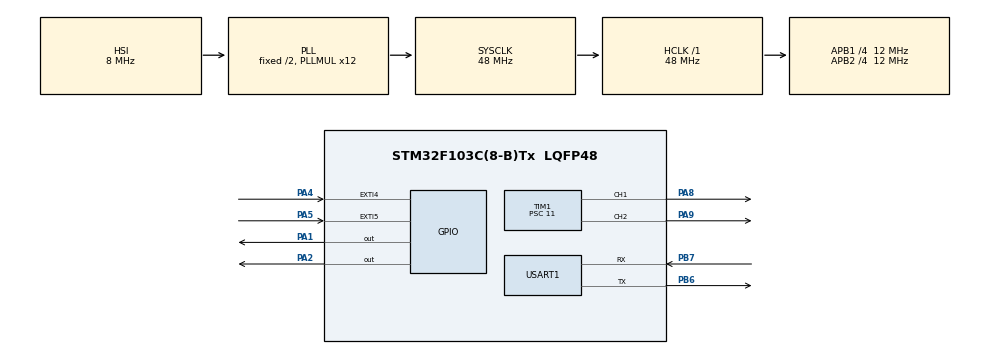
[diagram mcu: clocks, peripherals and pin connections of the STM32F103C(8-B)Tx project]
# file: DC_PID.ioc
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Mcu.Family=STM32F1
Mcu.Name=STM32F103C(8-B)Tx
Mcu.Package=LQFP48
NVIC.EXTI4_IRQn=true\:0\:0\:false\:false\:true\:true\:true\:true
NVIC.EXTI9_5_IRQn=true\:0\:0\:false\:false\:true\:true\:true\:true
NVIC.PriorityGroup=NVIC_PRIORITYGROUP_4
NVIC.TIM2_IRQn=true\:0\:0\:false\:false\:true\:true\:true\:true
NVIC.USART1_IRQn=true\:0\:0\:false\:false\:true\:true\:true\:true
PA1.Signal=GPIO_Output
PA13.Mode=Serial_Wire
PA13.Signal=SYS_JTMS-SWDIO
PA14.Mode=Serial_Wire
PA14.Signal=SYS_JTCK-SWCLK
PA2.Signal=GPIO_Output
PA4.GPIO_ModeDefaultEXTI=GPIO_MODE_IT_RISING_FALLING
PA4.GPIO_PuPd=GPIO_PULLUP
PA4.Signal=GPXTI4
PA5.GPIO_ModeDefaultEXTI=GPIO_MODE_IT_RISING_FALLING
PA5.GPIO_PuPd=GPIO_PULLUP
PA5.Signal=GPXTI5
PA8.Signal=S_TIM1_CH1
PA9.Signal=S_TIM1_CH2
PB6.Mode=Asynchronous
PB6.Signal=USART1_TX
PB7.Mode=Asynchronous
PB7.Signal=USART1_RX
PD0-OSC_IN.Mode=HSE-External-Oscillator
PD0-OSC_IN.Signal=RCC_OSC_IN
PD1-OSC_OUT.Mode=HSE-External-Oscillator
PD1-OSC_OUT.Signal=RCC_OSC_OUT
ProjectManager.HeapSize=0x200
ProjectManager.StackSize=0x400
ProjectManager.TargetToolchain=MDK-ARM V5.32
RCC.AHBFreq_Value=48000000
RCC.APB1CLKDivider=RCC_HCLK_DIV4
RCC.APB1Freq_Value=12000000
RCC.APB1TimFreq_Value=24000000
RCC.APB2CLKDivider=RCC_HCLK_DIV4
RCC.APB2Freq_Value=12000000
RCC.APB2TimFreq_Value=24000000
RCC.HCLKFreq_Value=48000000
RCC.PLLMUL=RCC_PLL_MUL12
RCC.SYSCLKFreq_VALUE=48000000
RCC.SYSCLKSource=RCC_SYSCLKSOURCE_PLLCLK
RCC.USBFreq_Value=48000000
SH.S_TIM1_CH1.0=TIM1_CH1,PWM Generation1 CH1
SH.S_TIM1_CH2.0=TIM1_CH2,PWM Generation2 CH2
TIM1.Channel-PWM\ Generation1\ CH1=TIM_CHANNEL_1
TIM1.Channel-PWM\ Generation2\ CH2=TIM_CHANNEL_2
TIM1.Period=100
TIM1.Prescaler=11
TIM2.Period=0
TIM2.Prescaler=23999
USART1.VirtualMode=VM_ASYNC
VP_TIM1_VS_ClockSourceINT.Mode=Internal
VP_TIM2_VS_ClockSourceINT.Mode=Internal
board=custom

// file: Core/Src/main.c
/* USER CODE BEGIN Header */
/**
  ******************************************************************************
  * @file           : main.c
  * @brief          : Main program body
  ******************************************************************************
  * @attention
  *
  * Copyright (c) 2025 STMicroelectronics.
  * All rights reserved.
  *
  * This software is licensed under terms that can be found in the LICENSE file
  * in the root directory of this software component.
  * If no LICENSE file comes with this software, it is provided AS-IS.
  *
  ******************************************************************************
  */
/* USER CODE END Header */
#include "main.h"

/* USER CODE BEGIN Includes */
#include "string.h"
#include "stdio.h"
#include "stdlib.h"
#include "stdbool.h"
/* USER CODE END Includes */

/* USER CODE BEGIN PM */
#define pi 3.1415
#define p2r pi/400
#define sampletime 0.005
#define alpha 0.95
/* USER CODE END PM */

TIM_HandleTypeDef htim1;
TIM_HandleTypeDef htim2;

UART_HandleTypeDef huart1;

/* USER CODE BEGIN PV */
int32_t PosCnt,Cnttmp,speed;
int16_t CountValue=0,RealVel,HILIM =100 ,LOLIM =-100;
uint16_t AngPos1, AngPos0,CntVel;
uint8_t PreviousState,Speedmode,tick=0;
int16_t pwm ;
bool run=true, dir;
float CurPos=0,DesiredPos,CurVel, DesiredSpeed;
char Rx_indx, Rx_Buffer[20],Rx_data[2];
char dataVelocity[100], dataPosition[100];
float Kp=0.075,Kd=0,Ki=148, Kb=100 ;
/* USER CODE END PV */

void SystemClock_Config(void);
static void MX_GPIO_Init(void);
static void MX_TIM1_Init(void);
static void MX_TIM2_Init(void);
static void MX_USART1_UART_Init(void);

/* USER CODE BEGIN 0 */
#ifdef __GNUC__
	#define PUTCHAR_PROTOTYPE int __io_putchar(int ch)
#else
	#define PUTCHAR_PROTOTYPE int fputc(int ch, FILE *f)
	#define GETCHAR_PROTOTYPE int fgetc(FILE *f)
#endif
	PUTCHAR_PROTOTYPE
	{
		HAL_UART_Transmit(&huart1, (uint8_t*)&ch,1,100);
		return ch;
	}

// Ham ngat Uart
void HAL_UART_RxCpltCallback(UART_HandleTypeDef *huart)
	{
		uint8_t i;
		if(huart->Instance == USART1) //uart1
		{
				if(Rx_indx==0) {for (i=0;i<20;i++) Rx_Buffer[i] = 0;}

		switch(Rx_data[0]) {
            /* dung dong co */
            case 'e':
                run =false;
                break;

            /* dong co chay */
            case 'r':
                run = true;
                break;
            case 'b':
//								reset();
								break;
            case 's':
                DesiredPos = atoi(Rx_Buffer);
                memset(Rx_Buffer, 0, sizeof(Rx_Buffer));
                Rx_indx = 0;
                break;
            case 'v':
                DesiredSpeed = atoi(Rx_Buffer);
                memset(Rx_Buffer, 0, sizeof(Rx_Buffer));
                Rx_indx = 0;
                break;
            case '0':
            case '1':
            case '2':
            case '3':
            case '4':
            case '5':
            case '6':
            case '7':
            case '8':
            case '9':
            case '.':
            case '-':
                Rx_Buffer[Rx_indx++] |= Rx_data[0];
                break;
            default:
                break;
        }
				HAL_UART_Receive_IT(&huart1,(uint8_t*)Rx_data,1);
		}
	}

void EXTI9_5_IRQHandler(void)	// doc encoder
{
  /* USER CODE BEGIN EXTI9_5_IRQn 0 */
unsigned char State0;
	State0 = (State0<<1) | HAL_GPIO_ReadPin(GPIOA, GPIO_PIN_4);
	State0 = (State0<<1) | HAL_GPIO_ReadPin(GPIOA, GPIO_PIN_5);
	State0 = State0&0x03;
	switch (State0) {
		case 0:
			if(PreviousState==1) CountValue++;
			else CountValue--;
		break;
		case 1:
			if(PreviousState==3) CountValue++;
			else CountValue--;
		break;
		case 2:
			if(PreviousState==0) CountValue++;
			else CountValue--;
		break;
		case 3:
			if(PreviousState==2) CountValue++;
			else CountValue--;
		break;
		}
	PreviousState = State0;
	CntVel++;
	if (CountValue>=1600) {
		CountValue = 0;
		PosCnt++;
	}
	else if	(CountValue<=-1600) {
		CountValue = 0;
		PosCnt--;
	}
  /* USER CODE END EXTI9_5_IRQn 0 */
  HAL_GPIO_EXTI_IRQHandler(GPIO_PIN_5);
  /* USER CODE BEGIN EXTI9_5_IRQn 1 */
}

/**
* @brief This function handles EXTI line3 interrupt.
*/
void EXTI4_IRQHandler(void)	// doc encoder
{
  /* USER CODE BEGIN EXTI4_IRQn 0 */
	// CHANNEL A
unsigned char State1;
	State1 = (State1<<1) | HAL_GPIO_ReadPin(GPIOA, GPIO_PIN_4);
	State1 = (State1<<1) | HAL_GPIO_ReadPin(GPIOA, GPIO_PIN_5);
	State1 = State1&0x03;
	switch (State1) {
		case 0:
			if(PreviousState==1) CountValue++;
			else CountValue--;
		break;
		case 1:
			if(PreviousState==3) CountValue++;
			else CountValue--;
		break;
		case 2:
			if(PreviousState==0) CountValue++;
			else CountValue--;
		break;
		case 3:
			if(PreviousState==2) CountValue++;
			else CountValue--;
		break;
		}
	PreviousState = State1;
	CntVel++;
	if (CountValue>=1600) {
		CountValue = 0;
		PosCnt++;
	}
	else if	(CountValue<=-1600) {
		CountValue = 0;
		PosCnt--;
	}
  /* USER CODE END EXTI4_IRQn 0 */
  HAL_GPIO_EXTI_IRQHandler(GPIO_PIN_4);
  /* USER CODE BEGIN EXTI4_IRQn 1 */

  /* USER CODE END EXTI4_IRQn 1 */
}

void tx_print(char *str)
{
		HAL_UART_Transmit(&huart1, (uint8_t*) str, strlen(str), 100);
}

int PIDVel(float Desiredvalue, float Currentvalue){

	static float errp = 0, e_reset = 0 ;
	static float uip = 0, ud_f_p = 0 ;
	float err,up,ud,ui, ud_f ;
	int uout , uout_anti_windup ;

	err = Desiredvalue - Currentvalue ;

	up = Kp*err ;
	ud = Kd*(err-errp)/sampletime ;
	ud_f = (1-alpha) * ud_f_p + alpha * ud;
	ui = uip + Ki*err*sampletime + Kb * sampletime * e_reset ;

	errp = err ;
	uip = ui ;
	ud_f_p = ud_f;
	uout =(int)(up+ud_f+ui);

	if(uout>HILIM) uout_anti_windup = 100 ;
	else if (uout < LOLIM)(uout_anti_windup = 0);
	else uout_anti_windup = uout;
	e_reset = uout_anti_windup - uout;
	return uout_anti_windup ;

}

void HAL_TIM_PeriodElapsedCallback(TIM_HandleTypeDef *htim) {	// ngat timer 2 tinh van toc
	if(htim->Instance==TIM2)	// ngat do timer 2	5ms
	{
		CurPos = (PosCnt*2*pi+CountValue*p2r)*5.4/(pi);	// Position calculation rad
		Cnttmp = CntVel;
		CntVel = 0;
		CurVel = 9.549279*Cnttmp*pi/5;								//rad/s

		// STUDENTS HAVE TO CONVERT CURPOS (RAD) TO TRANSLATION (MM)
 		pwm = PIDVel(DesiredSpeed, CurVel);
//		pwm= DesiredSpeed;
		if (pwm >0)
			(dir = 1) ;
		else {
		pwm *=-1;
		dir = 0 ; }

		if (dir==1){
//				HAL_GPIO_WritePin(GPIOA, GPIO_PIN_1, GPIO_PIN_SET);
//				HAL_GPIO_WritePin(GPIOA, GPIO_PIN_2, GPIO_PIN_RESET);
				__HAL_TIM_SetCompare(&htim1, TIM_CHANNEL_1, 0);
				__HAL_TIM_SetCompare(&htim1, TIM_CHANNEL_2, pwm);
		}
		else {
//				HAL_GPIO_WritePin(GPIOA, GPIO_PIN_1, GPIO_PIN_RESET);
//				HAL_GPIO_WritePin(GPIOA, GPIO_PIN_2, GPIO_PIN_SET);
				__HAL_TIM_SetCompare(&htim1, TIM_CHANNEL_1, pwm);
				__HAL_TIM_SetCompare(&htim1, TIM_CHANNEL_2, 0);
		}
	}

}

/* USER CODE END 0 */

int main(void)
{

  /* MCU Configuration--------------------------------------------------------*/

  /* Reset of all peripherals, Initializes the Flash interface and the Systick. */
  HAL_Init();

  /* Configure the system clock */
  SystemClock_Config();

  /* Initialize all configured peripherals */
  MX_GPIO_Init();
  MX_TIM1_Init();
  MX_TIM2_Init();
  MX_USART1_UART_Init();
  /* USER CODE BEGIN 2 */
	HAL_TIM_PWM_Start(&htim1, TIM_CHANNEL_1);
	HAL_TIM_PWM_Start(&htim1, TIM_CHANNEL_2);
	HAL_TIM_Base_Start_IT(&htim2);
	HAL_UART_Receive_IT(&huart1,(uint8_t*)Rx_data,1);
	HAL_GPIO_WritePin(GPIOA, GPIO_PIN_1, GPIO_PIN_SET);
	HAL_GPIO_WritePin(GPIOA, GPIO_PIN_2, GPIO_PIN_SET);
  /* USER CODE END 2 */

  /* Infinite loop */
  while (1)
  {

    /* USER CODE BEGIN 3 */
		sprintf(dataVelocity,"V%f\r\n",CurVel);
		tx_print(dataVelocity);
		sprintf(dataPosition,"P%f\r\n",CurPos);
		tx_print(dataPosition);
		HAL_Delay(50);
  }
  /* USER CODE END 3 */
}

void SystemClock_Config(void)
{
  RCC_OscInitTypeDef RCC_OscInitStruct = {0};
  RCC_ClkInitTypeDef RCC_ClkInitStruct = {0};

  /** Initializes the RCC Oscillators according to the specified parameters
  * in the RCC_OscInitTypeDef structure.
  */
  RCC_OscInitStruct.OscillatorType = RCC_OSCILLATORTYPE_HSI;
  RCC_OscInitStruct.HSIState = RCC_HSI_ON;
  RCC_OscInitStruct.HSICalibrationValue = RCC_HSICALIBRATION_DEFAULT;
  RCC_OscInitStruct.PLL.PLLState = RCC_PLL_ON;
  RCC_OscInitStruct.PLL.PLLSource = RCC_PLLSOURCE_HSI_DIV2;
  RCC_OscInitStruct.PLL.PLLMUL = RCC_PLL_MUL12;
  if (HAL_RCC_OscConfig(&RCC_OscInitStruct) != HAL_OK)
  {
    Error_Handler();
  }

  /** Initializes the CPU, AHB and APB buses clocks
  */
  RCC_ClkInitStruct.ClockType = RCC_CLOCKTYPE_HCLK|RCC_CLOCKTYPE_SYSCLK
                              |RCC_CLOCKTYPE_PCLK1|RCC_CLOCKTYPE_PCLK2;
  RCC_ClkInitStruct.SYSCLKSource = RCC_SYSCLKSOURCE_PLLCLK;
  RCC_ClkInitStruct.AHBCLKDivider = RCC_SYSCLK_DIV1;
  RCC_ClkInitStruct.APB1CLKDivider = RCC_HCLK_DIV4;
  RCC_ClkInitStruct.APB2CLKDivider = RCC_HCLK_DIV4;

  if (HAL_RCC_ClockConfig(&RCC_ClkInitStruct, FLASH_LATENCY_1) != HAL_OK)
  {
    Error_Handler();
  }
}

static void MX_TIM1_Init(void)
{

  TIM_ClockConfigTypeDef sClockSourceConfig = {0};
  TIM_MasterConfigTypeDef sMasterConfig = {0};
  TIM_OC_InitTypeDef sConfigOC = {0};
  TIM_BreakDeadTimeConfigTypeDef sBreakDeadTimeConfig = {0};

  htim1.Instance = TIM1;
  htim1.Init.Prescaler = 11;
  htim1.Init.CounterMode = TIM_COUNTERMODE_UP;
  htim1.Init.Period = 100;
  htim1.Init.ClockDivision = TIM_CLOCKDIVISION_DIV1;
  htim1.Init.RepetitionCounter = 0;
  htim1.Init.AutoReloadPreload = TIM_AUTORELOAD_PRELOAD_DISABLE;
  if (HAL_TIM_Base_Init(&htim1) != HAL_OK)
  {
    Error_Handler();
  }
  sClockSourceConfig.ClockSource = TIM_CLOCKSOURCE_INTERNAL;
  if (HAL_TIM_ConfigClockSource(&htim1, &sClockSourceConfig) != HAL_OK)
  {
    Error_Handler();
  }
  if (HAL_TIM_PWM_Init(&htim1) != HAL_OK)
  {
    Error_Handler();
  }
  sMasterConfig.MasterOutputTrigger = TIM_TRGO_RESET;
  sMasterConfig.MasterSlaveMode = TIM_MASTERSLAVEMODE_DISABLE;
  if (HAL_TIMEx_MasterConfigSynchronization(&htim1, &sMasterConfig) != HAL_OK)
  {
    Error_Handler();
  }
  sConfigOC.OCMode = TIM_OCMODE_PWM1;
  sConfigOC.Pulse = 0;
  sConfigOC.OCPolarity = TIM_OCPOLARITY_HIGH;
  sConfigOC.OCNPolarity = TIM_OCNPOLARITY_HIGH;
  sConfigOC.OCFastMode = TIM_OCFAST_DISABLE;
  sConfigOC.OCIdleState = TIM_OCIDLESTATE_RESET;
  sConfigOC.OCNIdleState = TIM_OCNIDLESTATE_RESET;
  if (HAL_TIM_PWM_ConfigChannel(&htim1, &sConfigOC, TIM_CHANNEL_1) != HAL_OK)
  {
    Error_Handler();
  }
  if (HAL_TIM_PWM_ConfigChannel(&htim1, &sConfigOC, TIM_CHANNEL_2) != HAL_OK)
  {
    Error_Handler();
  }
  sBreakDeadTimeConfig.OffStateRunMode = TIM_OSSR_DISABLE;
  sBreakDeadTimeConfig.OffStateIDLEMode = TIM_OSSI_DISABLE;
  sBreakDeadTimeConfig.LockLevel = TIM_LOCKLEVEL_OFF;
  sBreakDeadTimeConfig.DeadTime = 0;
  sBreakDeadTimeConfig.BreakState = TIM_BREAK_DISABLE;
  sBreakDeadTimeConfig.BreakPolarity = TIM_BREAKPOLARITY_HIGH;
  sBreakDeadTimeConfig.AutomaticOutput = TIM_AUTOMATICOUTPUT_DISABLE;
  if (HAL_TIMEx_ConfigBreakDeadTime(&htim1, &sBreakDeadTimeConfig) != HAL_OK)
  {
    Error_Handler();
  }
  HAL_TIM_MspPostInit(&htim1);

}

static void MX_TIM2_Init(void)
{

  TIM_ClockConfigTypeDef sClockSourceConfig = {0};
  TIM_MasterConfigTypeDef sMasterConfig = {0};

  htim2.Instance = TIM2;
  htim2.Init.Prescaler = 23999;
  htim2.Init.CounterMode = TIM_COUNTERMODE_UP;
  htim2.Init.Period = 4;
  htim2.Init.ClockDivision = TIM_CLOCKDIVISION_DIV1;
  htim2.Init.AutoReloadPreload = TIM_AUTORELOAD_PRELOAD_DISABLE;
  if (HAL_TIM_Base_Init(&htim2) != HAL_OK)
  {
    Error_Handler();
  }
  sClockSourceConfig.ClockSource = TIM_CLOCKSOURCE_INTERNAL;
  if (HAL_TIM_ConfigClockSource(&htim2, &sClockSourceConfig) != HAL_OK)
  {
    Error_Handler();
  }
  sMasterConfig.MasterOutputTrigger = TIM_TRGO_RESET;
  sMasterConfig.MasterSlaveMode = TIM_MASTERSLAVEMODE_DISABLE;
  if (HAL_TIMEx_MasterConfigSynchronization(&htim2, &sMasterConfig) != HAL_OK)
  {
    Error_Handler();
  }

}

static void MX_USART1_UART_Init(void)
{

  huart1.Instance = USART1;
  huart1.Init.BaudRate = 115200;
  huart1.Init.WordLength = UART_WORDLENGTH_8B;
  huart1.Init.StopBits = UART_STOPBITS_1;
  huart1.Init.Parity = UART_PARITY_NONE;
  huart1.Init.Mode = UART_MODE_TX_RX;
  huart1.Init.HwFlowCtl = UART_HWCONTROL_NONE;
  huart1.Init.OverSampling = UART_OVERSAMPLING_16;
  if (HAL_UART_Init(&huart1) != HAL_OK)
  {
    Error_Handler();
  }

}

static void MX_GPIO_Init(void)
{
  GPIO_InitTypeDef GPIO_InitStruct = {0};

  /* GPIO Ports Clock Enable */
  __HAL_RCC_GPIOD_CLK_ENABLE();
  __HAL_RCC_GPIOA_CLK_ENABLE();
  __HAL_RCC_GPIOB_CLK_ENABLE();

  /*Configure GPIO pin Output Level */
  HAL_GPIO_WritePin(GPIOA, GPIO_PIN_1|GPIO_PIN_2, GPIO_PIN_RESET);

  /*Configure GPIO pins : PA1 PA2 */
  GPIO_InitStruct.Pin = GPIO_PIN_1|GPIO_PIN_2;
  GPIO_InitStruct.Mode = GPIO_MODE_OUTPUT_PP;
  GPIO_InitStruct.Pull = GPIO_NOPULL;
  GPIO_InitStruct.Speed = GPIO_SPEED_FREQ_LOW;
  HAL_GPIO_Init(GPIOA, &GPIO_InitStruct);

  /*Configure GPIO pins : PA4 PA5 */
  GPIO_InitStruct.Pin = GPIO_PIN_4|GPIO_PIN_5;
  GPIO_InitStruct.Mode = GPIO_MODE_IT_RISING_FALLING;
  GPIO_InitStruct.Pull = GPIO_PULLUP;
  HAL_GPIO_Init(GPIOA, &GPIO_InitStruct);

  /* EXTI interrupt init*/
  HAL_NVIC_SetPriority(EXTI4_IRQn, 0, 0);
  HAL_NVIC_EnableIRQ(EXTI4_IRQn);

  HAL_NVIC_SetPriority(EXTI9_5_IRQn, 0, 0);
  HAL_NVIC_EnableIRQ(EXTI9_5_IRQn);

}

void Error_Handler(void)
{
  __disable_irq();
  while (1)
  {
  }
}
